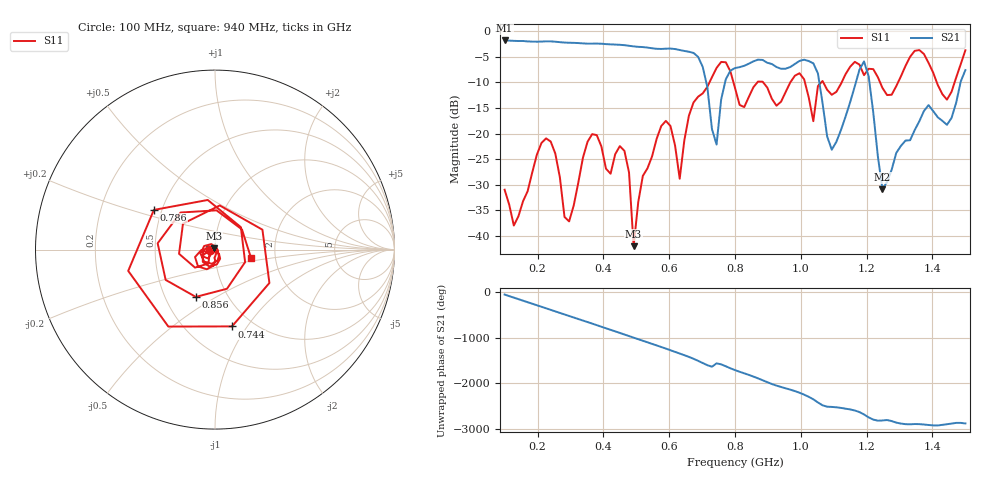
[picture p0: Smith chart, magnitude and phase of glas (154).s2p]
! NanoVNA-App
! Date: 2025-09-25 15:56:40
! Start: 100MHz Stop: 1,5GHz Points: 101
! S-Parameter data: F S11 S21 S12 S22
# Hz S RI R 50
!  Frequency  S11_Real  S11_Imag  S21_Real  S21_Imag  S12_Real  S12_Imag  S22_Real  S22_Imag
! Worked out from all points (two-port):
!   101 points, 100 MHz to 1.5 GHz, reference 50 ohm
!   highest |S21| = -1.80 dB at 100 MHz (marker M1); lowest = -30.8 dB at 1.248 GHz (marker M2)
!   |S21| within 3 dB of the highest: start of sweep to 684.2 MHz
!   lowest |S11| = -42.0 dB at 492 MHz (marker M3), VSWR 1.02, Z = 49.5 + j0.612 ohm
!   |S11| at or under -10 dB: start of sweep to 722.4 MHz; 795.4 MHz to 867.8 MHz (72.41 MHz wide, 8.71 % of centre); 885.7 MHz to 967.9 MHz (82.18 MHz wide, 8.87 % of centre) (the widest 3 of 7)
!   S12 and S22 are empty: the file has one direction only
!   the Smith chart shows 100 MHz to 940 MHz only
!   S11 on the Smith chart (normalised r, x): 100 MHz: 0.95, -0.01; 744 MHz: 0.81, -0.85; 786 MHz: 0.45, +0.24; 856 MHz: 0.71, -0.41; 940 MHz: 1.49, -0.14
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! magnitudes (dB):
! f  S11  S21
! 100 MHz  -31.0  -1.8
! 128 MHz  -37.9  -1.9
! 226 MHz  -20.9  -2.0
! 296 MHz  -37.1  -2.2
! 338 MHz  -24.7  -2.4
! 464 MHz  -23.4  -2.7
! 492 MHz  -42.0  -3.0
! 576 MHz  -18.5  -3.5
! 632 MHz  -28.8  -3.7
! 702 MHz  -12.1  -7.0
! 744 MHz  -7.2  -22.1
! 786 MHz  -7.8  -7.7
! 800 MHz  -11.1  -7.2
! 856 MHz  -10.9  -5.9
! 940 MHz  -13.8  -7.3
! 996 MHz  -8.2  -5.8
! 1.038 GHz  -17.6  -6.3
! 1.094 GHz  -12.4  -23.1
! 1.192 GHz  -8.6  -5.9
! 1.248 GHz  -11.1  -30.8
! 1.276 GHz  -12.4  -27.0
! 1.5 GHz  -3.7  -7.6
